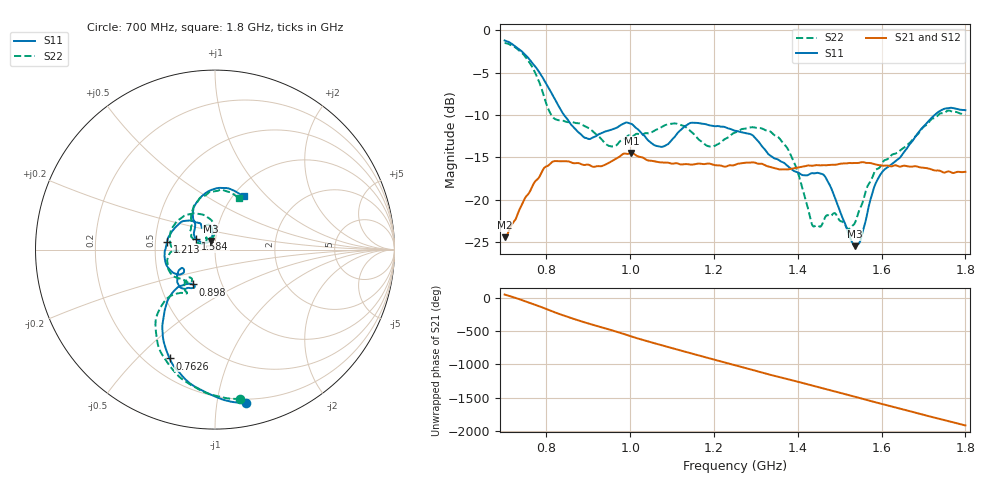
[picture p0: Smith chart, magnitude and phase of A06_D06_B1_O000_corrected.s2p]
! Created with skrf 1.9.0 (http://scikit-rf.org).
# Hz S RI R 50.0
!freq ReS11 ImS11 ReS21 ImS21 ReS12 ImS12 ReS22 ImS22
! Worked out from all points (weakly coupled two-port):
!   1601 points, 700 MHz to 1.8 GHz, reference 50 ohm
!   highest |S21| = -14.48 dB at 1.002 GHz (marker M1); lowest = -24.4 dB at 700 MHz (marker M2)
!   lowest |S11| = -25.5 dB at 1.535 GHz (marker M3), VSWR 1.11, Z = 47.5 + j4.55 ohm
!   |S11| at or under -10 dB: 842 MHz to 1.727 GHz (884.6 MHz wide, 68.9 % of centre)
!   |S22| runs from -23.5 to -1.5 dB; largest |S21 - S12| = 0.0035
!   S11 on the Smith chart (normalised r, x): 700 MHz: 0.17, -1.21; 762.6 MHz: 0.29, -0.63; 898 MHz: 0.73, -0.30; 1.213 GHz: 0.58, +0.05; 1.584 GHz: 0.80, +0.10; 1.8 GHz: 1.12, +0.75
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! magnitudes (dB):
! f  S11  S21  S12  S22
! 700 MHz  -1.2  -24.4  -24.2  -1.5
! 762.6 MHz  -3.6  -18.8  -18.8  -4.0
! 814.8 MHz  -7.6  -15.5  -15.6  -10.2
! 883.6 MHz  -12.4  -15.8  -15.7  -11.1
! 898 MHz  -12.8  -15.8  -15.9  -11.5
! 953.7 MHz  -11.8  -15.5  -15.5  -13.7
! 1.002 GHz  -11.0  -14.5  -14.6  -12.5
! 1.067 GHz  -13.7  -15.6  -15.5  -11.6
! 1.143 GHz  -10.9  -15.9  -15.8  -11.9
! 1.213 GHz  -11.3  -15.9  -15.9  -13.3
! 1.25 GHz  -11.9  -15.9  -15.8  -12.1
! 1.31 GHz  -13.4  -15.7  -15.8  -11.5
! 1.357 GHz  -15.4  -16.4  -16.4  -12.8
! 1.395 GHz  -16.7  -16.3  -16.2  -16.1
! 1.434 GHz  -16.9  -16.0  -15.9  -22.9
! 1.468 GHz  -17.5  -15.9  -15.9  -21.9
! 1.535 GHz  -25.5  -15.7  -15.7  -22.8
! 1.55 GHz  -24.6  -15.6  -15.6  -20.8
! 1.584 GHz  -18.3  -15.8  -15.8  -16.6
! 1.617 GHz  -16.1  -16.0  -16.0  -15.1
! 1.735 GHz  -9.7  -16.5  -16.6  -10.0
! 1.8 GHz  -9.4  -16.7  -16.7  -10.0
